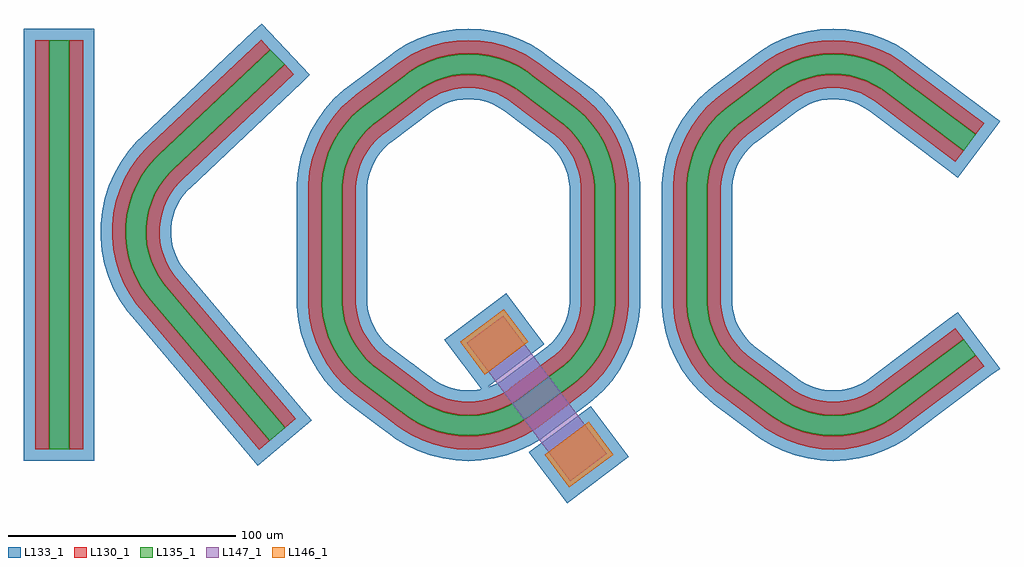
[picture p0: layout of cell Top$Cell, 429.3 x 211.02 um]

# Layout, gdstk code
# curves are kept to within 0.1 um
from math import pi, radians
import gdstk
lib = gdstk.Library(unit=1e-6, precision=1e-09)
def R(c, l, rs):  # rectangles x0, y0, x1, y1
    for r in rs: c.add(gdstk.rectangle(r[:2], r[2:], *l))
def P(c, l, *ps):  # polygons
    for p in ps: c.add(gdstk.Polygon(p, *l))
L130_1 = (130, 1)
L133_1 = (133, 1)
L135_1 = (135, 1)
L146_1 = (146, 1)
L147_1 = (147, 1)

waveguide_coplanar_strai = lib.new_cell('Waveguide$Coplanar$Straight')
R(waveguide_coplanar_strai, L130_1, [(0,-10.5,180,-4.5), (0,4.5,180,10.5)])
R(waveguide_coplanar_strai, L133_1, [(0,-15.5,180,15.5)])
waveguide_coplanar_strai.add(gdstk.FlexPath([(0,0),(180,0)], 9, ends="flush", simple_path=True, layer=135, datatype=1))  # L135_1
waveguide_coplanar_strai.add(gdstk.Label('base', (0,0), layer=225, texttype=0))

waveguide_coplanar = lib.new_cell('Waveguide$Coplanar')
R(waveguide_coplanar, L133_1, [(-45.5,-5,-14.5,0), (-45.5,180,-14.5,185)])
waveguide_coplanar.add(gdstk.Reference(waveguide_coplanar_strai, (-30,0), rotation=pi/2))
waveguide_coplanar.add(gdstk.Label('base', (0,0), layer=225, texttype=0))
waveguide_coplanar.add(gdstk.Label('port_a', (-30,0), layer=225, texttype=0))
waveguide_coplanar.add(gdstk.Label('port_a_corner', (-30,-42), layer=225, texttype=0))
waveguide_coplanar.add(gdstk.Label('port_b', (-30,180), layer=225, texttype=0))
waveguide_coplanar.add(gdstk.Label('port_b_corner', (-30,222), layer=225, texttype=0))
waveguide_coplanar.add(gdstk.Label('a', (-30,0), layer=154, texttype=1))
waveguide_coplanar.add(gdstk.Label('b', (-30,180), layer=154, texttype=1))

waveguide_composite = lib.new_cell('Waveguide$Composite')
waveguide_composite.add(gdstk.Reference(waveguide_coplanar, (0,0)))
waveguide_composite.add(gdstk.Label('base', (0,0), layer=225, texttype=0))
waveguide_composite.add(gdstk.Label('port_a', (-30,0), layer=225, texttype=0))
waveguide_composite.add(gdstk.Label('port_a_corner', (-30,-42), layer=225, texttype=0))
waveguide_composite.add(gdstk.Label('port_b', (-30,180), layer=225, texttype=0))
waveguide_composite.add(gdstk.Label('port_b_corner', (-30,222), layer=225, texttype=0))
waveguide_composite.add(gdstk.Label('a', (-30,0), layer=154, texttype=1))
waveguide_composite.add(gdstk.Label('b', (-30,180), layer=154, texttype=1))

c_waveguide_coplanar_strai = lib.new_cell('Waveguide$Coplanar$Straight$1')
R(c_waveguide_coplanar_strai, L130_1, [(0,-10.5,81.129,-4.5), (0,4.5,81.129,10.5)])
R(c_waveguide_coplanar_strai, L133_1, [(0,-15.5,81.129,15.5)])
c_waveguide_coplanar_strai.add(gdstk.FlexPath([(0,0),(81.129,0)], 9, ends="flush", simple_path=True, layer=135, datatype=1))  # L135_1
c_waveguide_coplanar_strai.add(gdstk.Label('base', (0,0), layer=225, texttype=0))

waveguide_coplanar_curve = lib.new_cell('Waveguide$Coplanar$Curved')
P(waveguide_coplanar_curve, L130_1, [(2.065,-37.443),(1.735,-31.452),(3.325,-31.364),(6.472,-30.869),(9.553,-30.059),(12.537,-28.942),(15.392,-27.529),(18.091,-25.836),(20.605,-23.88),(22.908,-21.679),(24.978,-19.258),(26.794,-16.64),(28.335,-13.852),(29.588,-10.923),(30.539,-7.883),(31.179,-4.762),(31.5,-1.593),(31.5,0),(37.5,0),(37.5,-1.896),(37.117,-5.669),(36.356,-9.385),(35.224,-13.004),(33.733,-16.491),(31.897,-19.81),(29.736,-22.926),(27.272,-25.809),(24.529,-28.428),(21.536,-30.758),(18.324,-32.773),(14.924,-34.454),(11.373,-35.784),(7.705,-36.749),(3.959,-37.339)],
  [(2.892,-52.42),(2.561,-46.429),(4.909,-46.3),(9.554,-45.569),(14.102,-44.372),(18.506,-42.723),(22.722,-40.639),(26.705,-38.139),(30.416,-35.251),(33.817,-32.003),(36.873,-28.428),(39.552,-24.564),(41.828,-20.449),(43.678,-16.125),(45.082,-11.637),(46.026,-7.03),(46.5,-2.351),(46.5,0),(52.5,0),(52.5,-2.655),(51.964,-7.937),(50.899,-13.138),(49.314,-18.206),(47.226,-23.087),(44.656,-27.733),(41.631,-32.097),(38.18,-36.132),(34.341,-39.8),(30.151,-43.061),(25.653,-45.882),(20.894,-48.236),(15.922,-50.098),(10.787,-51.448),(5.542,-52.274)])
P(waveguide_coplanar_curve, L133_1, [(3.167,-57.413),(1.46,-26.46),(5.445,-25.969),(8.037,-25.287),(10.547,-24.348),(12.949,-23.16),(15.219,-21.735),(17.334,-20.089),(19.272,-18.238),(21.014,-16.201),(22.541,-13.999),(23.838,-11.654),(24.892,-9.19),(25.692,-6.632),(26.23,-4.006),(26.5,0),(57.5,0),(57.5,-2.908),(56.913,-8.693),(55.746,-14.39),(54.01,-19.94),(51.723,-25.286),(48.909,-30.375),(45.595,-35.153),(41.817,-39.574),(37.611,-43.59),(33.023,-47.162),(28.097,-50.252),(22.884,-52.83),(17.438,-54.869),(11.814,-56.348),(6.07,-57.253)])
waveguide_coplanar_curve.add(gdstk.FlexPath([(42,0),(42,-2.124),(41.572,-6.35),(40.719,-10.511),(39.451,-14.565),(37.781,-18.47),(35.725,-22.187),(33.304,-25.677),(30.544,-28.906),(27.473,-31.84),(24.121,-34.448),(20.523,-36.706),(16.715,-38.589),(12.738,-40.078),(8.63,-41.159),(4.434,-41.819),(2.313,-41.936)], 9, ends="flush", simple_path=True, layer=135, datatype=1))  # L135_1
waveguide_coplanar_curve.add(gdstk.Label('base', (0,0), layer=225, texttype=0))

c_waveguide_coplanar_strai_ = lib.new_cell('Waveguide$Coplanar$Straight$2')
R(c_waveguide_coplanar_strai_, L130_1, [(0,-10.5,67.51,-4.5), (0,4.5,67.51,10.5)])
R(c_waveguide_coplanar_strai_, L133_1, [(0,-15.5,67.51,15.5)])
c_waveguide_coplanar_strai_.add(gdstk.FlexPath([(0,0),(67.51,0)], 9, ends="flush", simple_path=True, layer=135, datatype=1))  # L135_1
c_waveguide_coplanar_strai_.add(gdstk.Label('base', (0,0), layer=225, texttype=0))

waveguide_coplanar_1 = lib.new_cell('Waveguide$Coplanar$1')
P(waveguide_coplanar_1, L133_1, [(57.386,-7.162),(54.159,-3.342),(77.841,16.662),(81.067,12.842)],
  [(76.639,161.348),(55.361,183.892),(58.997,187.324),(80.275,164.78)])
waveguide_coplanar_1.add(gdstk.Reference(c_waveguide_coplanar_strai, (66,6.66), rotation=radians(130.1879)))
waveguide_coplanar_1.add(gdstk.Reference(waveguide_coplanar_curve, (45.734,95.738), rotation=radians(220.1879)))
waveguide_coplanar_1.add(gdstk.Reference(c_waveguide_coplanar_strai_, (16.905,126.281), rotation=radians(43.3453)))
waveguide_coplanar_1.add(gdstk.Label('base', (0,0), layer=225, texttype=0))
waveguide_coplanar_1.add(gdstk.Label('port_a', (66,6.66), layer=225, texttype=0))
waveguide_coplanar_1.add(gdstk.Label('port_a_corner', (93.102,-25.425), layer=225, texttype=0))
waveguide_coplanar_1.add(gdstk.Label('port_b', (66,172.62), layer=225, texttype=0))
waveguide_coplanar_1.add(gdstk.Label('port_b_corner', (96.544,201.449), layer=225, texttype=0))
waveguide_coplanar_1.add(gdstk.Label('a', (66,6.66), layer=154, texttype=1))
waveguide_coplanar_1.add(gdstk.Label('b', (66,172.62), layer=154, texttype=1))

waveguide_composite_1 = lib.new_cell('Waveguide$Composite$1')
waveguide_composite_1.add(gdstk.Reference(waveguide_coplanar_1, (0,0)))
waveguide_composite_1.add(gdstk.Label('base', (0,0), layer=225, texttype=0))
waveguide_composite_1.add(gdstk.Label('port_a', (66,6.66), layer=225, texttype=0))
waveguide_composite_1.add(gdstk.Label('port_a_corner', (93.102,-25.425), layer=225, texttype=0))
waveguide_composite_1.add(gdstk.Label('port_b', (66,172.62), layer=225, texttype=0))
waveguide_composite_1.add(gdstk.Label('port_b_corner', (96.544,201.449), layer=225, texttype=0))
waveguide_composite_1.add(gdstk.Label('a', (66,6.66), layer=154, texttype=1))
waveguide_composite_1.add(gdstk.Label('b', (66,172.62), layer=154, texttype=1))

airbridge_rectangular = lib.new_cell('Airbridge$Rectangular')
R(airbridge_rectangular, L133_1, [(-17,-45,17,-17), (-17,17,17,45)])
R(airbridge_rectangular, L146_1, [(-12,-40,12,-22), (-12,22,12,40)])
R(airbridge_rectangular, L147_1, [(-10,-38,10,38)])
airbridge_rectangular.add(gdstk.Label('base', (0,0), layer=225, texttype=0))
airbridge_rectangular.add(gdstk.Label('port_a', (0,22), layer=225, texttype=0))
airbridge_rectangular.add(gdstk.Label('port_a_corner', (0,64), layer=225, texttype=0))
airbridge_rectangular.add(gdstk.Label('port_b', (0,-22), layer=225, texttype=0))
airbridge_rectangular.add(gdstk.Label('port_b_corner', (0,-64), layer=225, texttype=0))
airbridge_rectangular.add(gdstk.Label('a', (0,22), layer=154, texttype=1))
airbridge_rectangular.add(gdstk.Label('b', (0,-22), layer=154, texttype=1))

c_waveguide_coplanar_strai__ = lib.new_cell('Waveguide$Coplanar$Straight$3')
R(c_waveguide_coplanar_strai__, L130_1, [(0,-10.5,16.501,-4.5), (0,4.5,16.501,10.5)])
R(c_waveguide_coplanar_strai__, L133_1, [(0,-15.5,16.501,15.5)])
c_waveguide_coplanar_strai__.add(gdstk.FlexPath([(0,0),(16.501,0)], 9, ends="flush", simple_path=True, layer=135, datatype=1))  # L135_1
c_waveguide_coplanar_strai__.add(gdstk.Label('base', (0,0), layer=225, texttype=0))

c_waveguide_coplanar_curve = lib.new_cell('Waveguide$Coplanar$Curved$1')
P(c_waveguide_coplanar_curve, L130_1, [(22.5,-30),(18.9,-25.2),(20.199,-24.225),(22.584,-22.019),(24.729,-19.58),(26.611,-16.933),(28.212,-14.106),(29.513,-11.13),(30.501,-8.035),(31.166,-4.855),(31.5,-1.624),(31.5,0),(37.5,0),(37.5,-1.934),(37.102,-5.78),(36.311,-9.566),(35.135,-13.249),(33.586,-16.793),(31.68,-20.158),(29.439,-23.309),(26.886,-26.214),(24.047,-28.84)],
  [(31.5,-42),(27.9,-37.2),(29.818,-35.761),(33.338,-32.505),(36.504,-28.904),(39.284,-24.996),(41.646,-20.823),(43.567,-16.429),(45.026,-11.861),(46.007,-7.167),(46.5,-2.398),(46.5,0),(52.5,0),(52.5,-2.707),(51.943,-8.092),(50.835,-13.392),(49.188,-18.549),(47.02,-23.51),(44.352,-28.221),(41.215,-32.633),(37.64,-36.699),(33.666,-40.376)])
P(c_waveguide_coplanar_curve, L133_1, [(34.5,-46),(15.9,-21.2),(18.999,-18.524),(20.804,-16.472),(22.387,-14.245),(23.734,-11.867),(24.828,-9.363),(25.66,-6.76),(26.219,-4.085),(26.5,0),(57.5,0),(57.5,-2.965),(56.89,-8.863),(55.677,-14.667),(53.873,-20.316),(51.498,-25.749),(48.576,-30.909),(45.14,-35.741),(41.224,-40.194),(36.872,-44.221)])
c_waveguide_coplanar_curve.add(gdstk.FlexPath([(42,0),(42,-2.166),(41.555,-6.474),(40.668,-10.713),(39.351,-14.839),(37.616,-18.808),(35.482,-22.577),(32.972,-26.107),(30.112,-29.359),(26.932,-32.301),(25.2,-33.6)], 9, ends="flush", simple_path=True, layer=135, datatype=1))  # L135_1
c_waveguide_coplanar_curve.add(gdstk.Label('base', (0,0), layer=225, texttype=0))

c_waveguide_coplanar_strai___ = lib.new_cell('Waveguide$Coplanar$Straight$4')
R(c_waveguide_coplanar_strai___, L130_1, [(0,-10.5,48.002,-4.5), (0,4.5,48.002,10.5)])
R(c_waveguide_coplanar_strai___, L133_1, [(0,-15.5,48.002,15.5)])
c_waveguide_coplanar_strai___.add(gdstk.FlexPath([(0,0),(48.002,0)], 9, ends="flush", simple_path=True, layer=135, datatype=1))  # L135_1
c_waveguide_coplanar_strai___.add(gdstk.Label('base', (0,0), layer=225, texttype=0))

c_waveguide_coplanar_strai____ = lib.new_cell('Waveguide$Coplanar$Straight$5')
R(c_waveguide_coplanar_strai____, L130_1, [(0,-10.5,22.502,-4.5), (0,4.5,22.502,10.5)])
R(c_waveguide_coplanar_strai____, L133_1, [(0,-15.5,22.502,15.5)])
c_waveguide_coplanar_strai____.add(gdstk.FlexPath([(0,0),(22.502,0)], 9, ends="flush", simple_path=True, layer=135, datatype=1))  # L135_1
c_waveguide_coplanar_strai____.add(gdstk.Label('base', (0,0), layer=225, texttype=0))

c_waveguide_coplanar_curve_ = lib.new_cell('Waveguide$Coplanar$Curved$2')
P(c_waveguide_coplanar_curve_, L130_1, [(10.5,-36),(8.82,-30.24),(10.318,-29.803),(13.213,-28.637),(15.979,-27.191),(18.588,-25.479),(21.016,-23.517),(23.237,-21.324),(25.231,-18.923),(26.978,-16.337),(28.46,-13.59),(29.664,-10.711),(30.578,-7.726),(31.192,-4.666),(31.5,-1.561),(31.5,0),(37.5,0),(37.5,-1.858),(37.133,-5.555),(36.402,-9.198),(35.315,-12.751),(33.881,-16.179),(32.116,-19.448),(30.037,-22.528),(27.663,-25.386),(25.019,-27.996),(22.129,-30.332),(19.023,-32.37),(15.73,-34.092),(12.283,-35.48)],
  [(14.7,-50.4),(13.02,-44.64),(15.231,-43.995),(19.505,-42.274),(23.588,-40.139),(27.44,-37.611),(31.023,-34.715),(34.302,-31.479),(37.246,-27.934),(39.824,-24.116),(42.013,-20.062),(43.79,-15.811),(45.138,-11.406),(46.045,-6.888),(46.5,-2.304),(46.5,0),(52.5,0),(52.5,-2.601),(51.986,-7.777),(50.963,-12.877),(49.44,-17.851),(47.434,-22.651),(44.963,-27.228),(42.052,-31.539),(38.728,-35.541),(35.026,-39.194),(30.981,-42.464),(26.632,-45.318),(22.022,-47.729),(17.197,-49.672)])
P(c_waveguide_coplanar_curve_, L133_1, [(16.1,-55.2),(7.42,-25.44),(11.116,-24.092),(13.443,-22.875),(15.638,-21.434),(17.68,-19.784),(19.549,-17.939),(21.226,-15.919),(22.696,-13.744),(23.943,-11.433),(24.956,-9.011),(25.724,-6.5),(26.24,-3.926),(26.5,0),(57.5,0),(57.5,-2.849),(56.937,-8.518),(55.816,-14.104),(54.149,-19.551),(51.951,-24.808),(49.245,-29.821),(46.056,-34.542),(42.417,-38.925),(38.362,-42.927),(33.931,-46.509),(29.168,-49.635),(24.119,-52.274),(18.835,-54.402)])
c_waveguide_coplanar_curve_.add(gdstk.FlexPath([(42,0),(42,-2.081),(41.589,-6.222),(40.77,-10.302),(39.552,-14.281),(37.947,-18.12),(35.97,-21.782),(33.641,-25.231),(30.983,-28.432),(28.021,-31.355),(24.784,-33.971),(21.305,-36.255),(17.618,-38.183),(13.757,-39.737),(11.76,-40.32)], 9, ends="flush", simple_path=True, layer=135, datatype=1))  # L135_1
c_waveguide_coplanar_curve_.add(gdstk.Label('base', (0,0), layer=225, texttype=0))

c_waveguide_coplanar_strai_____ = lib.new_cell('Waveguide$Coplanar$Straight$6')
R(c_waveguide_coplanar_strai_____, L130_1, [(0,-10.5,6.001,-4.5), (0,4.5,6.001,10.5)])
R(c_waveguide_coplanar_strai_____, L133_1, [(0,-15.5,6.001,15.5)])
c_waveguide_coplanar_strai_____.add(gdstk.FlexPath([(0,0),(6.001,0)], 9, ends="flush", simple_path=True, layer=135, datatype=1))  # L135_1
c_waveguide_coplanar_strai_____.add(gdstk.Label('base', (0,0), layer=225, texttype=0))

waveguide_coplanar_2 = lib.new_cell('Waveguide$Coplanar$2')
P(waveguide_coplanar_2, L133_1, [(114.7,7.1),(110.7,10.1),(129.3,34.9),(133.3,31.9)],
  [(110.7,10.1),(106.7,13.1),(125.3,37.9),(129.3,34.9)])
waveguide_coplanar_2.add(gdstk.Reference(c_waveguide_coplanar_strai__, (120,22.5), rotation=radians(143.1301)))
waveguide_coplanar_2.add(gdstk.Reference(c_waveguide_coplanar_curve, (132,66), rotation=radians(233.1301)))
waveguide_coplanar_2.add(gdstk.Reference(c_waveguide_coplanar_strai___, (90,65.999), rotation=pi/2))
waveguide_coplanar_2.add(gdstk.Reference(c_waveguide_coplanar_curve, (132,114), rotation=pi))
waveguide_coplanar_2.add(gdstk.Reference(c_waveguide_coplanar_strai____, (106.799,147.599), rotation=radians(36.8699)))
waveguide_coplanar_2.add(gdstk.Reference(c_waveguide_coplanar_curve_, (150,127.5), rotation=radians(126.8699)))
waveguide_coplanar_2.add(gdstk.Reference(c_waveguide_coplanar_strai____, (175.199,161.101), rotation=radians(323.1301)))
waveguide_coplanar_2.add(gdstk.Reference(c_waveguide_coplanar_curve, (168,114), rotation=radians(53.1301)))
waveguide_coplanar_2.add(gdstk.Reference(c_waveguide_coplanar_strai___, (210,114.001), rotation=3*pi/2))
waveguide_coplanar_2.add(gdstk.Reference(c_waveguide_coplanar_curve, (168,66)))
waveguide_coplanar_2.add(gdstk.Reference(c_waveguide_coplanar_strai____, (193.201,32.401), rotation=radians(216.8699)))
waveguide_coplanar_2.add(gdstk.Reference(c_waveguide_coplanar_curve_, (150,52.5), rotation=radians(306.8699)))
waveguide_coplanar_2.add(gdstk.Reference(c_waveguide_coplanar_strai_____, (124.801,18.899), rotation=radians(143.1301)))
waveguide_coplanar_2.add(gdstk.Label('base', (0,0), layer=225, texttype=0))
waveguide_coplanar_2.add(gdstk.Label('port_a', (120,22.5), layer=225, texttype=0))
waveguide_coplanar_2.add(gdstk.Label('port_a_corner', (153.6,-2.7), layer=225, texttype=0))
waveguide_coplanar_2.add(gdstk.Label('port_b', (120,22.5), layer=225, texttype=0))
waveguide_coplanar_2.add(gdstk.Label('port_b_corner', (86.4,47.7), layer=225, texttype=0))
waveguide_coplanar_2.add(gdstk.Label('a', (120,22.5), layer=154, texttype=1))
waveguide_coplanar_2.add(gdstk.Label('b', (120,22.5), layer=154, texttype=1))

waveguide_composite_2 = lib.new_cell('Waveguide$Composite$2')
waveguide_composite_2.add(gdstk.Reference(airbridge_rectangular, (180,22.5), rotation=radians(216.8699)))
waveguide_composite_2.add(gdstk.Reference(waveguide_coplanar_2, (0,0)))
waveguide_composite_2.add(gdstk.Label('base', (0,0), layer=225, texttype=0))
waveguide_composite_2.add(gdstk.Label('port_a', (120,22.5), layer=225, texttype=0))
waveguide_composite_2.add(gdstk.Label('port_a_corner', (153.6,-2.7), layer=225, texttype=0))
waveguide_composite_2.add(gdstk.Label('port_b', (120,22.5), layer=225, texttype=0))
waveguide_composite_2.add(gdstk.Label('port_b_corner', (86.4,47.7), layer=225, texttype=0))
waveguide_composite_2.add(gdstk.Label('a', (120,22.5), layer=154, texttype=1))
waveguide_composite_2.add(gdstk.Label('b', (120,22.5), layer=154, texttype=1))

c_waveguide_coplanar_strai______ = lib.new_cell('Waveguide$Coplanar$Straight$7')
R(c_waveguide_coplanar_strai______, L130_1, [(0,-10.5,43.501,-4.5), (0,4.5,43.501,10.5)])
R(c_waveguide_coplanar_strai______, L133_1, [(0,-15.5,43.501,15.5)])
c_waveguide_coplanar_strai______.add(gdstk.FlexPath([(0,0),(43.501,0)], 9, ends="flush", simple_path=True, layer=135, datatype=1))  # L135_1
c_waveguide_coplanar_strai______.add(gdstk.Label('base', (0,0), layer=225, texttype=0))

waveguide_coplanar_3 = lib.new_cell('Waveguide$Coplanar$3')
P(waveguide_coplanar_3, L133_1, [(379.8,32.6),(361.2,57.4),(365.2,60.4),(383.8,35.6)],
  [(365.2,119.6),(361.2,122.6),(379.8,147.4),(383.8,144.4)])
waveguide_coplanar_3.add(gdstk.Reference(c_waveguide_coplanar_strai______, (370.5,45), rotation=radians(216.8699)))
waveguide_coplanar_3.add(gdstk.Reference(c_waveguide_coplanar_curve_, (310.5,52.5), rotation=radians(306.8699)))
waveguide_coplanar_3.add(gdstk.Reference(c_waveguide_coplanar_strai____, (285.301,18.899), rotation=radians(143.1301)))
waveguide_coplanar_3.add(gdstk.Reference(c_waveguide_coplanar_curve, (292.5,66), rotation=radians(233.1301)))
waveguide_coplanar_3.add(gdstk.Reference(c_waveguide_coplanar_strai___, (250.5,65.999), rotation=pi/2))
waveguide_coplanar_3.add(gdstk.Reference(c_waveguide_coplanar_curve, (292.5,114), rotation=pi))
waveguide_coplanar_3.add(gdstk.Reference(c_waveguide_coplanar_strai____, (267.299,147.599), rotation=radians(36.8699)))
waveguide_coplanar_3.add(gdstk.Reference(c_waveguide_coplanar_curve_, (310.5,127.5), rotation=radians(126.8699)))
waveguide_coplanar_3.add(gdstk.Reference(c_waveguide_coplanar_strai______, (335.699,161.101), rotation=radians(323.1301)))
waveguide_coplanar_3.add(gdstk.Label('base', (0,0), layer=225, texttype=0))
waveguide_coplanar_3.add(gdstk.Label('port_a', (370.5,45), layer=225, texttype=0))
waveguide_coplanar_3.add(gdstk.Label('port_a_corner', (404.1,70.2), layer=225, texttype=0))
waveguide_coplanar_3.add(gdstk.Label('port_b', (370.5,135), layer=225, texttype=0))
waveguide_coplanar_3.add(gdstk.Label('port_b_corner', (404.1,109.8), layer=225, texttype=0))
waveguide_coplanar_3.add(gdstk.Label('a', (370.5,45), layer=154, texttype=1))
waveguide_coplanar_3.add(gdstk.Label('b', (370.5,135), layer=154, texttype=1))

waveguide_composite_3 = lib.new_cell('Waveguide$Composite$3')
waveguide_composite_3.add(gdstk.Reference(waveguide_coplanar_3, (0,0)))
waveguide_composite_3.add(gdstk.Label('base', (0,0), layer=225, texttype=0))
waveguide_composite_3.add(gdstk.Label('port_a', (370.5,45), layer=225, texttype=0))
waveguide_composite_3.add(gdstk.Label('port_a_corner', (404.1,70.2), layer=225, texttype=0))
waveguide_composite_3.add(gdstk.Label('port_b', (370.5,135), layer=225, texttype=0))
waveguide_composite_3.add(gdstk.Label('port_b_corner', (404.1,109.8), layer=225, texttype=0))
waveguide_composite_3.add(gdstk.Label('a', (370.5,45), layer=154, texttype=1))
waveguide_composite_3.add(gdstk.Label('b', (370.5,135), layer=154, texttype=1))

top_cell = lib.new_cell('Top$Cell')
top_cell.add(gdstk.Reference(waveguide_composite, (0,0)))
top_cell.add(gdstk.Reference(waveguide_composite_1, (0,0)))
top_cell.add(gdstk.Reference(waveguide_composite_2, (0,0)))
top_cell.add(gdstk.Reference(waveguide_composite_3, (0,0)))

lib.write_gds('Top_Cell.gds')
